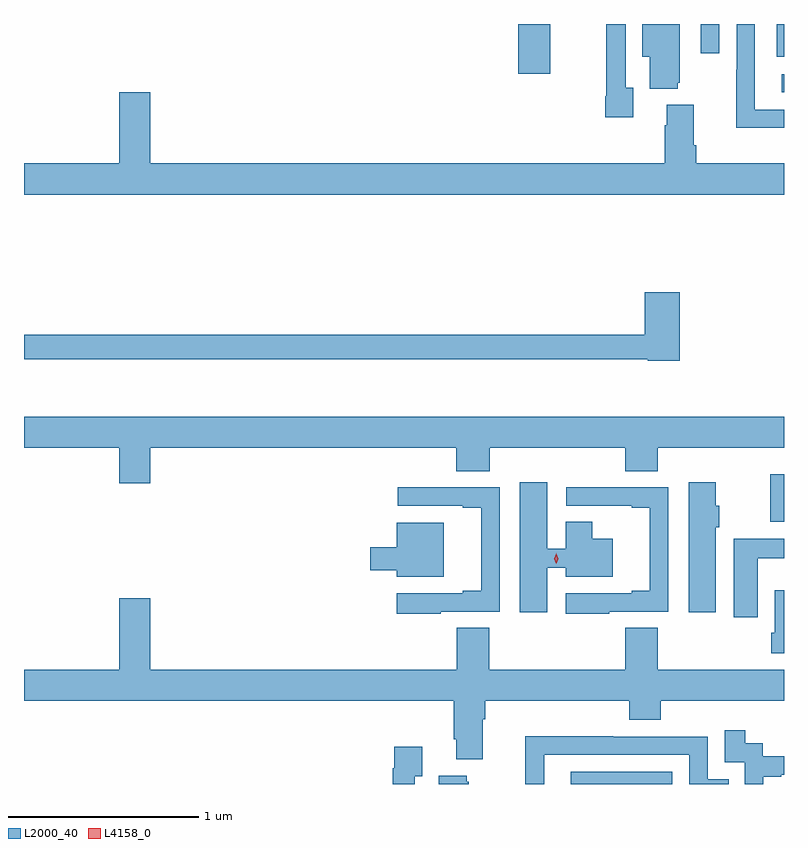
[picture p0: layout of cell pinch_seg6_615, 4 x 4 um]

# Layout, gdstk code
import gdstk
lib = gdstk.Library(unit=1e-6, precision=1e-09)
def R(c, l, rs):  # rectangles x0, y0, x1, y1
    for r in rs: c.add(gdstk.rectangle(r[:2], r[2:], *l))
def P(c, l, *ps):  # polygons
    for p in ps: c.add(gdstk.Polygon(p, *l))
L2000_40 = (2000, 40)
L4158_0 = (4158, 0)

pinch_seg6_615 = lib.new_cell('pinch_seg6_615')
R(pinch_seg6_615, L2000_40, [(479.073,977.534,479.607,977.598), (480.122,978.915,480.195,979.165), (480.183,981.174,480.195,981.27), (478.796,981.273,478.966,981.534), (480.158,981.362,480.195,981.534), (479.757,981.381,479.853,981.534)])
P(pinch_seg6_615, L2000_40, [(479.401,981.198),(479.361,981.198),(479.361,981.534),(479.26,981.534),(479.26,981.154),(479.253,981.154),(479.253,981.042),(479.401,981.042)],
  [(479.636,981.225),(479.647,981.225),(479.647,981.534),(479.45,981.534),(479.45,981.362),(479.489,981.362),(479.489,981.194),(479.636,981.194)],
  [(480.195,981.084),(480.042,981.084),(480.042,981.534),(479.946,981.534),(479.946,981.293),(479.944,981.293),(479.944,980.987),(480.195,980.987)],
  [(480.195,980.8),(479.732,980.8),(479.732,980.896),(479.719,980.896),(479.719,981.109),(479.579,981.109),(479.579,981.002),(479.567,981.002),(479.567,980.8),(476.86,980.8),(476.86,981.175),(476.696,981.175),(476.696,980.8),(476.195,980.8),(476.195,980.636),(480.195,980.636)],
  [(479.645,980.122),(479.462,980.122),(479.462,979.898),(476.195,979.898),(476.195,979.77),(479.478,979.77),(479.478,979.762),(479.645,979.762)],
  [(476.86,979.304),(478.469,979.304),(478.469,979.18),(478.646,979.18),(478.646,979.304),(479.36,979.304),(479.36,979.18),(479.531,979.18),(479.531,979.304),(480.195,979.304),(480.195,979.468),(476.195,979.468),(476.195,979.304),(476.696,979.304),(476.696,979.116),(476.86,979.116)],
  [(479.836,978.885),(479.854,978.885),(479.854,978.999),(479.836,978.999),(479.836,979.123),(479.693,979.123),(479.693,978.438),(479.836,978.438)],
  [(478.948,978.671),(479.045,978.671),(479.045,978.626),(479.293,978.626),(479.293,978.826),(479.187,978.826),(479.187,978.914),(479.045,978.914),(479.045,978.771),(478.948,978.771),(478.948,979.123),(478.805,979.123),(478.805,978.438),(478.948,978.438)],
  [(478.388,978.441),(478.698,978.441),(478.698,979.095),(478.385,979.095),(478.385,979.097),(478.161,979.097),(478.161,978.999),(478.505,978.999),(478.505,978.987),(478.601,978.987),(478.601,978.55),(478.505,978.55),(478.505,978.537),(478.158,978.537),(478.158,978.429),(478.388,978.429)],
  [(479.276,978.441),(479.586,978.441),(479.586,979.095),(479.276,979.095),(479.276,979.097),(479.049,979.097),(479.049,978.999),(479.393,978.999),(479.393,978.987),(479.489,978.987),(479.489,978.55),(479.393,978.55),(479.393,978.537),(479.046,978.537),(479.046,978.429),(479.276,978.429)],
  [(478.405,978.91),(478.157,978.91),(478.157,978.781),(478.017,978.781),(478.017,978.659),(478.157,978.659),(478.157,978.626),(478.405,978.626)],
  [(480.058,978.722),(480.195,978.722),(480.195,978.826),(479.93,978.826),(479.93,978.411),(480.058,978.411)],
  [(480.195,978.553),(480.147,978.553),(480.147,978.331),(480.127,978.331),(480.127,978.221),(480.195,978.221)],
  [(478.609,977.876),(478.622,977.876),(478.622,977.972),(479.381,977.972),(479.381,977.873),(479.546,977.873),(479.546,977.972),(480.195,977.972),(480.195,978.136),(479.531,978.136),(479.531,978.356),(479.36,978.356),(479.36,978.136),(478.643,978.136),(478.643,978.356),(478.472,978.356),(478.472,978.136),(476.86,978.136),(476.86,978.511),(476.696,978.511),(476.696,978.136),(476.195,978.136),(476.195,977.972),(478.457,977.972),(478.457,977.77),(478.469,977.77),(478.469,977.663),(478.609,977.663)],
  [(480.086,977.571),(480.181,977.571),(480.181,977.583),(480.195,977.583),(480.195,977.679),(480.084,977.679),(480.084,977.748),(479.992,977.748),(479.992,977.818),(479.883,977.818),(479.883,977.649),(479.988,977.649),(479.988,977.534),(480.086,977.534)],
  [(478.933,977.688),(479.697,977.688),(479.697,977.534),(479.903,977.534),(479.903,977.559),(479.793,977.559),(479.793,977.784),(479.297,977.784),(479.297,977.786),(478.834,977.786),(478.834,977.534),(478.933,977.534)],
  [(478.251,977.575),(478.291,977.575),(478.291,977.731),(478.143,977.731),(478.143,977.618),(478.135,977.618),(478.135,977.534),(478.251,977.534)],
  [(478.537,977.547),(478.526,977.547),(478.526,977.578),(478.379,977.578),(478.379,977.534),(478.537,977.534)])
P(pinch_seg6_615, L4158_0, [(478.996,978.693),(478.996,978.693),(478.986,978.72),(478.996,978.747),(478.996,978.748),(478.996,978.747),(479.006,978.72),(478.996,978.693)])

lib.write_gds('pinch_seg6_615.gds')
